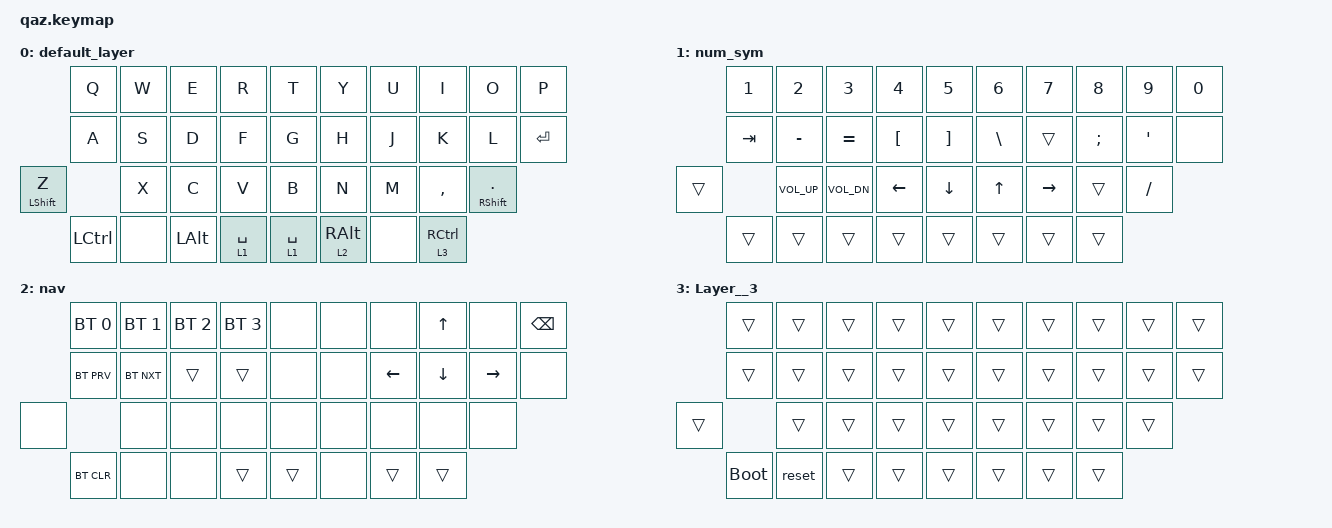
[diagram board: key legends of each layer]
/*
 * Copyright (c) 2020 The ZMK Contributors
 *
 * SPDX-License-Identifier: MIT
 */

#include <behaviors.dtsi>
#include <dt-bindings/zmk/keys.h>
#include <dt-bindings/zmk/bt.h>

#define DEFAULT 0
#define NUM_SYM 1
#define NAV     2

/ {
    behaviors {
        hm: homerow_mods {
            compatible = "zmk,behavior-hold-tap";
            label = "homerow mods";
            #binding-cells = <2>;
            tapping-term-ms = <225>;
            flavor = "tap-preferred";
            bindings =
                <&kp>,
                <&kp>;
        };
    };
};

/ {
    keymap {
        compatible = "zmk,keymap";

        default_layer {
            bindings = <
            &kp Q   &kp W     &kp E        &kp R        &kp T       &kp Y   &kp U        &kp I           &kp O    &kp P
            &kp A   &kp S     &kp D        &kp F        &kp G       &kp H   &kp J        &kp K           &kp L  &kp RET
 &mt LEFT_SHIFT Z   &kp X     &kp C        &kp V        &kp B       &kp N   &kp M    &kp COMMA  &mt RSHIFT DOT
        &kp LCTRL   &none  &kp LALT  &lt 1 SPACE  &lt 1 SPACE  &lt 2 RALT   &none  &lt 3 RCTRL
            >;
        };

        num_sym {
            bindings = <
  &kp N1        &kp N2        &kp N3            &kp N4             &kp N5         &kp N6     &kp N7    &kp N8            &kp N9  &kp N0
 &kp TAB     &kp MINUS     &kp EQUAL  &kp LEFT_BRACKET  &kp RIGHT_BRACKET  &kp BACKSLASH     &trans  &kp SEMI  &kp SINGLE_QUOTE   &none
  &trans  &kp C_VOL_UP  &kp C_VOL_DN          &kp LEFT           &kp DOWN         &kp UP  &kp RIGHT    &trans          &kp FSLH
  &trans        &trans        &trans            &trans             &trans         &trans     &trans    &trans
            >;
        };

        nav {
            bindings = <
 &bt BT_SEL 0  &bt BT_SEL 1  &bt BT_SEL 2  &bt BT_SEL 3   &none   &none     &none    &kp UP      &none  &kp BSPC
   &bt BT_PRV    &bt BT_NXT        &trans        &trans   &none   &none  &kp LEFT  &kp DOWN  &kp RIGHT     &none
        &none         &none         &none         &none   &none   &none     &none     &none      &none
   &bt BT_CLR         &none         &none        &trans  &trans   &none    &trans    &trans
            >;
        };

        Layer__3 {
            bindings = <
      &trans  &trans  &trans  &trans  &trans  &trans  &trans  &trans  &trans  &trans
      &trans  &trans  &trans  &trans  &trans  &trans  &trans  &trans  &trans  &trans
      &trans  &trans  &trans  &trans  &trans  &trans  &trans  &trans  &trans
 &bootloader  &reset  &trans  &trans  &trans  &trans  &trans  &trans
            >;
        };
    };
};

/ {
    combos {
        compatible = "zmk,combos";

        combo_esc {
            timeout-ms = <50>;
            key-positions = <0 1>;
            bindings = <&kp ESC>;
        };

        combo_bsc {
            bindings = <&kp BSPC>;
            key-positions = <8 9>;
        };

        combo_fslh {
            bindings = <&kp FSLH>;
            key-positions = <27 28>;
        };

        combo_ret {
            bindings = <&kp RET>;
            key-positions = <17 18>;
        };
    };
};
